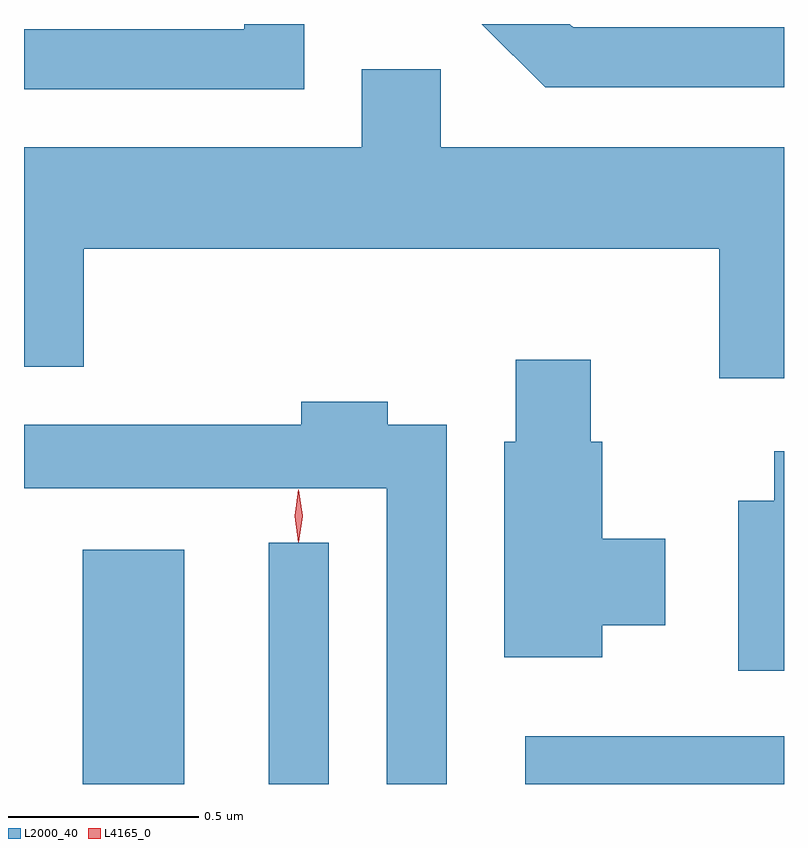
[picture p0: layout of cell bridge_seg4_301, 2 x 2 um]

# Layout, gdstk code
import gdstk
lib = gdstk.Library(unit=1e-6, precision=1e-09)
def R(c, l, rs):  # rectangles x0, y0, x1, y1
    for r in rs: c.add(gdstk.rectangle(r[:2], r[2:], *l))
def P(c, l, *ps):  # polygons
    for p in ps: c.add(gdstk.Polygon(p, *l))
L2000_40 = (2000, 40)
L4165_0 = (4165, 0)

bridge_seg4_301 = lib.new_cell('bridge_seg4_301')
R(bridge_seg4_301, L2000_40, [(524.216,1311.088,524.484,1311.704), (524.706,1311.088,524.864,1311.723), (525.381,1311.088,526.062,1311.214)])
P(bridge_seg4_301, L2000_40, [(524.799,1313.088),(524.641,1313.088),(524.641,1313.074),(524.062,1313.074),(524.062,1312.916),(524.799,1312.916)],
  [(526.062,1313.079),(525.507,1313.079),(525.498,1313.088),(525.267,1313.088),(525.434,1312.921),(526.062,1312.921)],
  [(526.062,1312.764),(525.159,1312.764),(525.159,1312.969),(524.951,1312.969),(524.951,1312.764),(524.062,1312.764),(524.062,1312.186),(524.219,1312.186),(524.219,1312.496),(525.891,1312.496),(525.891,1312.156),(526.062,1312.156)],
  [(525.584,1311.506),(525.749,1311.506),(525.749,1311.734),(525.584,1311.734),(525.584,1311.989),(525.554,1311.989),(525.554,1312.204),(525.356,1312.204),(525.356,1311.989),(525.326,1311.989),(525.326,1311.421),(525.584,1311.421)],
  [(525.174,1312.034),(525.019,1312.034),(525.019,1312.094),(524.791,1312.094),(524.791,1312.034),(524.062,1312.034),(524.062,1311.866),(525.016,1311.866),(525.016,1311.088),(525.174,1311.088)],
  [(526.062,1311.964),(526.036,1311.964),(526.036,1311.834),(525.941,1311.834),(525.941,1311.386),(526.062,1311.386)])
P(bridge_seg4_301, L4165_0, [(524.784,1311.727),(524.775,1311.794),(524.784,1311.86),(524.785,1311.86),(524.785,1311.86),(524.795,1311.794),(524.785,1311.727),(524.785,1311.727)],
  [(524.784,1311.724),(524.775,1311.793),(524.784,1311.862),(524.785,1311.863),(524.785,1311.862),(524.795,1311.793),(524.785,1311.724),(524.785,1311.724)])

lib.write_gds('bridge_seg4_301.gds')
